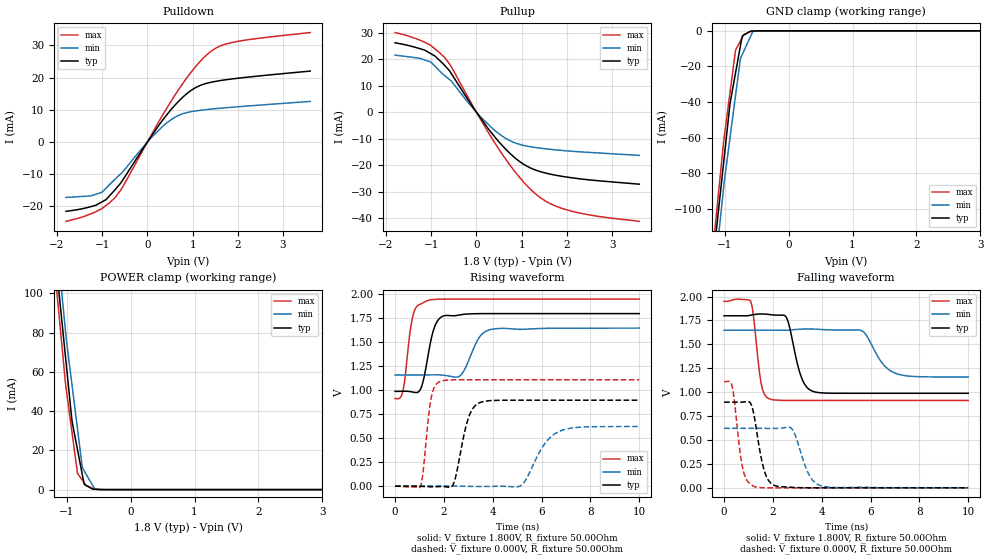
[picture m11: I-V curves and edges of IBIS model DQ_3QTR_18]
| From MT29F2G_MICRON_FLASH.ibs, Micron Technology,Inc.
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|   MODEL DQ_3QTR_18
[Model]   DQ_3QTR_18
Model_type   I/O
Vinl = 360.000mV
Vinh = 1.44V
Vmeas = 900.000mV
Cref = 30.000pF
|   typ   min   max
C_comp   3.52pF   3.07pF   4.00pF
[Model Spec]
| Input threshold voltage corners
Vinl   0.36V   0.33V   0.39V
Vinh   1.44V   1.320V   1.560V
| Measurement voltage corners
Vmeas   0.9V   0.825V   0.975V
[Voltage Range]   1.80V   1.650V   1.950V
| Junction Temperature (Ambient temp is 25C typ, 70C min, 0C max)
[Temperature Range]   40   85   0
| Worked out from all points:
|   slope of the pulldown table from 0 to 0.27 V, typ, clamps not added: 48.9 ohm
|   slope of the pullup table from 0 to 0.27 V, typ, clamps not added: 42.2 ohm
|   GND clamp passes 1 mA (typ) near -0.64 V on its own axis
|   POWER clamp passes 1 mA (typ) near -0.63 V on its own axis
|   falling waveform, V_fixture 1.800V, R_fixture 50.00Ohm: 20-80 % time 454ps typ, 716ps min, 271ps max; typ from 1.8 V to 0.989 V
|   rising waveform, V_fixture 1.800V, R_fixture 50.00Ohm: 20-80 % time 386ps typ, 523ps min, 298ps max; typ from 0.989 V to 1.8 V
|   rising waveform, V_fixture 0.000V, R_fixture 50.00Ohm: 20-80 % time 462ps typ, 839ps min, 278ps max; typ from 0.001 V to 0.896 V
|   falling waveform, V_fixture 0.000V, R_fixture 50.00Ohm: 20-80 % time 392ps typ, 519ps min, 317ps max; typ from 0.896 V to 0.001 V
[Pulldown]
|   Voltage   I(typ)   I(min)   I(max)
-1.8V     -21.59mA   -17.26mA   -24.7mA
-1.25V    -20.13mA   -16.78mA   -22.37mA
-1.01V    -18.69mA   -15.7mA    -20.77mA
-700mV    -14.62mA   -11.39mA   -17.1mA
-540mV    -11.71mA   -9.214mA   -13.8mA
90mV      1.828mA    1.418mA    2.253mA
440mV     8.633mA    6.061mA    10.77mA
920mV     15.54mA    9.282mA    20.84mA
1.35V     18.37mA    10.12mA    27.54mA
1.62V     19.1mA     10.48mA    29.89mA
1.88V     19.6mA     10.79mA    30.95mA
3.6V      22.03mA    12.59mA    34.01mA
[GND Clamp]
|   Voltage   I(typ)   I(min)   I(max)
-1.8V     -368.6mA   -374.1mA   -367.8mA
-1.15V    -119mA     -134.2mA   -110.7mA
-1.12V    -108.8mA   -123.9mA   -99.85mA
-1.11V    -105.5mA   -120.4mA   -96.23mA
-1.02V    -75.49mA   -89.54mA   -63.67mA
-920mV    -42.17mA   -61.16mA   -35.75mA
-830mV    -23.71mA   -36.44mA   -10.95mA
-750mV    -7.804mA   -15.32mA   -5.459mA
-720mV    -2.773mA   -12.96mA   -3.458mA
-690mV    -2.139mA   -10.61mA   -1.915mA
-550mV    -85.58uA   -224.7uA   -186.8uA
3.6V      0A         0A         0A
[Pullup]
|   Voltage   I(typ)   I(min)   I(max)
-1.8V     26.3mA     21.63mA    30.16mA
-1.15V    23.57mA    19.84mA    26.53mA
-1.01V    22.2mA     19.03mA    25.31mA
-700mV    17.69mA    13.85mA    20.71mA
-560mV    14.77mA    11.9mA     17.3mA
90mV      -2.116mA   -1.684mA   -2.615mA
440mV     -9.998mA   -7.327mA   -12.46mA
910mV     -18.02mA   -11.9mA    -23.68mA
1.35V     -22.08mA   -13.42mA   -31.43mA
1.66V     -23.46mA   -14.04mA   -34.74mA
2.12V     -24.77mA   -14.73mA   -37.43mA
3.6V      -27.16mA   -16.26mA   -41.2mA
[POWER Clamp]
|   Voltage   I(typ)   I(min)   I(max)
-1.8V     352.8mA    360.4mA    347.7mA
-1.15V    110.5mA    125.4mA    99.85mA
-1.11V    97.39mA    111.9mA    85.99mA
-1.09V    90.95mA    105.1mA    79.06mA
-1.02V    68.41mA    81.53mA    54.79mA
-920mV    36.21mA    54.42mA    30.16mA
-830mV    20.37mA    30.92mA    8.393mA
-750mV    6.846mA    10.93mA    4.597mA
-720mV    2.569mA    9.247mA    3.228mA
-600mV    360.1uA    2.524mA    707.6uA
-440mV    11.82uA    6.122uA    39.04uA
3.6V      0A         0A         0A
[Ramp]
R_load = 50.00Ohm
|   typ   min   max
dV/dt_r   537.513mV/461.513ps 372.597mV/837.951ps 665.771mV/277.751ps
dV/dt_f   486.394mV/453.835ps 293.226mV/715.191ps 621.766mV/270.669ps
[Falling Waveform]
V_fixture = 1.800V
V_fixture_min = 1.650V
V_fixture_max = 1.950V
R_fixture = 50.00Ohm
|   Time   V(typ)   V(min)   V(max)
0s        1.799V     1.648V     1.95V
1.09ns    1.805V     1.648V     1.948V
1.53ns    1.818V     1.648V     1.078V
1.87ns    1.812V     1.648V     928.8mV
2.56ns    1.778V     1.648V     914mV
3.14ns    1.175V     1.659V     913.7mV
3.64ns    1.009V     1.66V      913.7mV
5.64ns    988.6mV    1.643V     913.7mV
7.12ns    988.6mV    1.189V     913.7mV
10ns      988.6mV    1.159V     913.7mV
[Rising Waveform]
V_fixture = 1.800V
V_fixture_min = 1.650V
V_fixture_max = 1.950V
R_fixture = 50.00Ohm
|   Time   V(typ)   V(min)   V(max)
0s        988.6mV    1.159V     913.7mV
330ps     989.5mV    1.159V     999.4mV
770ps     979.2mV    1.159V     1.811V
1.06ns    1.021V     1.159V     1.9V
1.29ns    1.272V     1.16V      1.931V
1.62ns    1.662V     1.161V     1.947V
1.98ns    1.775V     1.157V     1.95V
2.69ns    1.787V     1.158V     1.95V
3.87ns    1.799V     1.63V      1.95V
10ns      1.799V     1.648V     1.95V
[Rising Waveform]
V_fixture = 0.000V
V_fixture_min = 0.000V
V_fixture_max = 0.000V
R_fixture = 50.00Ohm
|   Time   V(typ)   V(min)   V(max)
0s        604.7uV    1.322mV    -6.155uV
1.04ns    -1.185mV   1.322mV    -1.436mV
1.47ns    -6.21mV    1.318mV    906.8mV
1.83ns    -3.183mV   1.381mV    1.091V
2.39ns    23.31mV    1.468mV    1.109V
3ns       707.3mV    -1.354mV   1.11V
3.44ns    867.5mV    -3.169mV   1.11V
5.17ns    896.5mV    9.9mV      1.11V
6.86ns    896.5mV    585.1mV    1.11V
10ns      896.5mV    622.3mV    1.11V
[Falling Waveform]
V_fixture = 0.000V
V_fixture_min = 0.000V
V_fixture_max = 0.000V
R_fixture = 50.00Ohm
|   Time   V(typ)   V(min)   V(max)
0s        896.5mV    622.3mV    1.11V
320ps     896.5mV    622.3mV    1.069V
770ps     896.7mV    622.3mV    196.8mV
1.24ns    740.3mV    622.4mV    13.4mV
1.65ns    177.3mV    622.2mV    791.4uV
2.1ns     21.82mV    621.4mV    55.6uV
2.8ns     5.161mV    608.8mV    -5.377uV
3.44ns    875.3uV    157.6mV    -6.155uV
3.93ns    637.2uV    25.32mV    -6.155uV
10ns      604.7uV    1.322mV    -6.155uV
